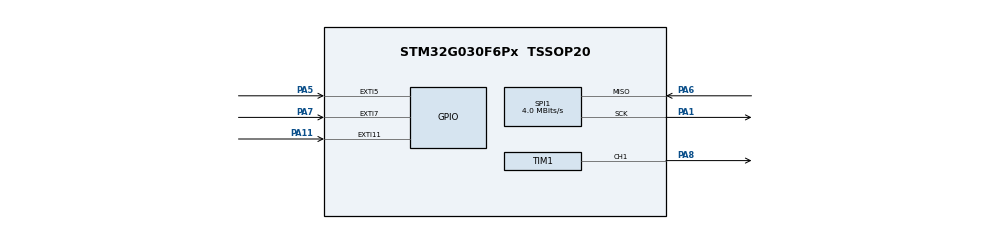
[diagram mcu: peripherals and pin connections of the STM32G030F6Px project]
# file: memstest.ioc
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Dma.Request0=TIM1_CH1
Dma.Request1=SPI1_RX
Dma.SPI1_RX.1.Direction=DMA_PERIPH_TO_MEMORY
Dma.SPI1_RX.1.EventEnable=DISABLE
Dma.SPI1_RX.1.Instance=DMA1_Channel2
Dma.SPI1_RX.1.MemDataAlignment=DMA_MDATAALIGN_BYTE
Dma.SPI1_RX.1.MemInc=DMA_MINC_ENABLE
Dma.SPI1_RX.1.Mode=DMA_CIRCULAR
Dma.SPI1_RX.1.PeriphDataAlignment=DMA_PDATAALIGN_BYTE
Dma.SPI1_RX.1.PeriphInc=DMA_PINC_DISABLE
Dma.SPI1_RX.1.Polarity=HAL_DMAMUX_REQ_GEN_RISING
Dma.SPI1_RX.1.Priority=DMA_PRIORITY_LOW
Dma.SPI1_RX.1.RequestNumber=1
Dma.SPI1_RX.1.SignalID=NONE
Dma.SPI1_RX.1.SyncEnable=DISABLE
Dma.SPI1_RX.1.SyncPolarity=HAL_DMAMUX_SYNC_NO_EVENT
Dma.SPI1_RX.1.SyncRequestNumber=1
Dma.SPI1_RX.1.SyncSignalID=NONE
Dma.TIM1_CH1.0.Direction=DMA_MEMORY_TO_PERIPH
Dma.TIM1_CH1.0.EventEnable=DISABLE
Dma.TIM1_CH1.0.Instance=DMA1_Channel1
Dma.TIM1_CH1.0.MemDataAlignment=DMA_MDATAALIGN_HALFWORD
Dma.TIM1_CH1.0.MemInc=DMA_MINC_ENABLE
Dma.TIM1_CH1.0.Mode=DMA_CIRCULAR
Dma.TIM1_CH1.0.PeriphDataAlignment=DMA_PDATAALIGN_HALFWORD
Dma.TIM1_CH1.0.PeriphInc=DMA_PINC_DISABLE
Dma.TIM1_CH1.0.Polarity=HAL_DMAMUX_REQ_GEN_RISING
Dma.TIM1_CH1.0.Priority=DMA_PRIORITY_LOW
Dma.TIM1_CH1.0.RequestNumber=1
Dma.TIM1_CH1.0.SignalID=NONE
Dma.TIM1_CH1.0.SyncEnable=DISABLE
Dma.TIM1_CH1.0.SyncPolarity=HAL_DMAMUX_SYNC_NO_EVENT
Dma.TIM1_CH1.0.SyncRequestNumber=1
Dma.TIM1_CH1.0.SyncSignalID=NONE
Mcu.Family=STM32G0
Mcu.Name=STM32G030F6Px
Mcu.Package=TSSOP20
NVIC.DMA1_Channel1_IRQn=true\:0\:0\:false\:false\:true\:false\:true\:true
NVIC.DMA1_Channel2_3_IRQn=true\:0\:0\:false\:false\:true\:false\:true\:true
NVIC.EXTI4_15_IRQn=true\:0\:0\:false\:false\:true\:true\:true\:true
NVIC.SPI1_IRQn=true\:0\:0\:false\:false\:true\:true\:true\:true
PA1.Mode=RX_Only_Simplex_Unidirect_Master
PA1.Signal=SPI1_SCK
PA11\ [PA9].GPIO_ModeDefaultEXTI=GPIO_MODE_IT_RISING_FALLING
PA11\ [PA9].GPIO_PuPd=GPIO_PULLUP
PA11\ [PA9].Signal=GPXTI11
PA13.Mode=Serial_Wire
PA13.Signal=SYS_SWDIO
PA14-BOOT0.Mode=Serial_Wire
PA14-BOOT0.Signal=SYS_SWCLK
PA14-BOOT0__PA15.StandardMode=true
PA5.GPIO_ModeDefaultEXTI=GPIO_MODE_IT_RISING_FALLING
PA5.GPIO_PuPd=GPIO_PULLUP
PA5.Signal=GPXTI5
PA6.Mode=RX_Only_Simplex_Unidirect_Master
PA6.Signal=SPI1_MISO
PA7.GPIO_ModeDefaultEXTI=GPIO_MODE_IT_RISING_FALLING
PA7.GPIO_PuPd=GPIO_PULLUP
PA7.Signal=GPXTI7
PA8.Signal=S_TIM1_CH1
PB0__PB1__PB2__PA8.StandardMode=true
PB3__PB4__PB5__PB6.StandardMode=true
PB7__PB8.StandardMode=true
PC14-OSC32_IN\ (PC14)__PB9.StandardMode=true
ProjectManager.HeapSize=0x200
ProjectManager.StackSize=0x400
ProjectManager.TargetToolchain=STM32CubeIDE
RCC.ADCFreq_Value=64000000
RCC.AHBFreq_Value=64000000
RCC.CortexFreq_Value=64000000
RCC.EXTERNAL_CLOCK_VALUE=12288000
RCC.HCLKFreq_Value=64000000
RCC.HSE_VALUE=8000000
RCC.HSI_VALUE=16000000
RCC.LSE_VALUE=32768
RCC.SYSCLKFreq_VALUE=64000000
RCC.SYSCLKSource=RCC_SYSCLKSOURCE_PLLCLK
RCC.VCOOutputFreq_Value=128000000
SH.S_TIM1_CH1.0=TIM1_CH1,PWM Generation1 CH1
SPI1.BaudRatePrescaler=SPI_BAUDRATEPRESCALER_16
SPI1.CLKPhase=SPI_PHASE_1EDGE
SPI1.CLKPolarity=SPI_POLARITY_LOW
SPI1.CalculateBaudRate=4.0 MBits/s
SPI1.Direction=SPI_DIRECTION_2LINES_RXONLY
SPI1.Mode=SPI_MODE_MASTER
SPI1.NSSPMode=SPI_NSS_PULSE_DISABLE
SPI1.VirtualType=VM_MASTER
TIM1.Channel-PWM\ Generation1\ CH1=TIM_CHANNEL_1
TIM1.Channel-PWM\ Generation4\ No\ Output=TIM_CHANNEL_4
TIM1.Period=80-1
VP_TIM1_VS_ClockSourceINT.Mode=Internal
VP_TIM1_VS_no_output4.Mode=PWM Generation4 No Output
board=custom

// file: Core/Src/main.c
/* USER CODE BEGIN Header */
/**
  ******************************************************************************
  * @file           : main.c
  * @brief          : Main program body
  ******************************************************************************
  * @attention
  *
  * <h2><center>&copy; Copyright (c) 2022 STMicroelectronics.
  * All rights reserved.</center></h2>
  *
  * This software component is licensed by ST under BSD 3-Clause license,
  * the "License"; You may not use this file except in compliance with the
  * License. You may obtain a copy of the License at:
  *                        opensource.org/licenses/BSD-3-Clause
  *
  ******************************************************************************
  */
/* USER CODE END Header */
#include "main.h"
#include "dma.h"
#include "spi.h"
#include "tim.h"
#include "gpio.h"

void SystemClock_Config(void);

/* USER CODE BEGIN 0 */
int sys_state = 0;

uint32_t huecolor(float hue) {
    int amp = 256;
    int normalized = (int) (hue / 360.0 * amp * 6);

    //find the region for this position
    int region = normalized / amp;

    //find the distance to the start of the closest region
    int x = normalized % amp;

    uint8_t r = 0, g = 0, b = 0;
    switch (region) {
        case 0:
            r = amp - 1;
            g = 0;
            b = 0;
            g += x;
            break;
        case 1:
            r = amp - 1;
            g = amp - 1;
            b = 0;
            r -= x;
            break;
        case 2:
            r = 0;
            g = amp - 1;
            b = 0;
            b += x;
            break;
        case 3:
            r = 0;
            g = amp - 1;
            b = amp - 1;
            g -= x;
            break;
        case 4:
            r = 0;
            g = 0;
            b = amp - 1;
            r += x;
            break;
        case 5:
            r = amp - 1;
            g = 0;
            b = amp - 1;
            b -= x;
            break;
    }
    return r + (g << 8) + (b << 16);
}

#define MAX_LED 17
#define PDM_SAMPLES 512

uint8_t LED_Data[MAX_LED][4];

void Set_LED(uint8_t LEDnum, uint8_t Red, uint8_t Green, uint8_t Blue) {

    LED_Data[LEDnum][0] = LEDnum;
    LED_Data[LEDnum][1] = Green;
    LED_Data[LEDnum][2] = Red;
    LED_Data[LEDnum][3] = Blue;
}

volatile uint8_t datasentflag = 0;

uint16_t pwmData[(24 * MAX_LED) + 50];

void WS2812_Send(void) {
    uint32_t indx = 0;
    uint32_t color;
    for (int i = 0; i < 50; i++) {
        pwmData[indx] = 0;
        indx++;
    }
    for (int i = 0; i < MAX_LED; i++) {
        color = ((LED_Data[i][1] << 16) | (LED_Data[i][2] << 8) | (LED_Data[i][3]));

        for (int i = 23; i >= 0; i--) {
            if ((color >> i) & 1) {
                pwmData[indx] = 53;  // 2/3 of 20
            } else pwmData[indx] = 27;  // 1/3 of 20

            indx++;
        }

    }

    HAL_TIM_PWM_Start_DMA(&htim1, TIM_CHANNEL_1, (uint32_t *) pwmData, indx);
    while (!datasentflag) {};
    datasentflag = 0;
}

int pdm2amp(const uint8_t *r, int s, int e) {
    int max_amp = 0;
    int amp = 0;
    for (int i = s; i < e; i++) {
        for (int j = 0; j < 8; j++) {
            if (((r[i] >> j) & 1) == 1) {
                amp++;
            }
        }
    }
    int dest = (amp - (e - s) * 8 / 2);
    if (dest < 0)dest = -dest;
    if (dest > MAX_LED)dest = MAX_LED;

    if (dest > max_amp) {
        max_amp = dest;
    }
    return max_amp;
}

int pdm2amp_rec(uint8_t *buf, int size, int step) {
    if (size > PDM_SAMPLES)size = PDM_SAMPLES;
    if (step > PDM_SAMPLES)step = PDM_SAMPLES;
    int amp = 0;
    for (int i = 0; i < PDM_SAMPLES - size; i += step) {
        int amp_t = pdm2amp(buf, i, i + size);
        if (amp_t > amp)amp = amp_t;
    }
    return amp;
}

void HAL_TIM_PWM_PulseFinishedCallback(TIM_HandleTypeDef *htim) {
    HAL_TIM_PWM_Stop_DMA(&htim1, TIM_CHANNEL_1);
    datasentflag = 1;
}

uint8_t r[PDM_SAMPLES] = {0};

void HAL_SPI_RxCpltCallback(SPI_HandleTypeDef *hspi) {

}

void HAL_GPIO_EXTI_Rising_Callback(uint16_t GPIO_Pin) {

}

void HAL_GPIO_EXTI_Falling_Callback(uint16_t GPIO_Pin) {
    sys_state = 1 - sys_state;
}

/* USER CODE END 0 */

int main(void) {

    /* MCU Configuration--------------------------------------------------------*/

    /* Reset of all peripherals, Initializes the Flash interface and the Systick. */
    HAL_Init();

    /* Configure the system clock */
    SystemClock_Config();

    /* Initialize all configured peripherals */
    MX_GPIO_Init();
    MX_SPI1_Init();
    MX_DMA_Init();
    MX_TIM1_Init();

    /* Infinite loop */
    /* USER CODE BEGIN WHILE */
    HAL_SPI_DeInit(&hspi1);
    HAL_SPI_Init(&hspi1);
    HAL_SPI_Receive_DMA(&hspi1, (uint8_t *) r, PDM_SAMPLES);
//    int counter = 0;

    HAL_TIM_PWM_Start_DMA(&htim1, TIM_CHANNEL_1, (uint32_t *) pwmData, (24 * MAX_LED) + 50);
    int max_amp = 0;

    while (1) {

        /* USER CODE END WHILE */

        /* USER CODE BEGIN 3 */

        //  DEPRECATED: non-precise frequency band matching
        //      volatile int amp1=0;
        //      volatile int amp2=0;
        //      volatile int amp3=0;
        //      volatile int amp4=0;
        //        for(int i=0;i<400-1;i++){
        //            int amp1_t=pdm2amp(r,PDM_SAMPLES/400*i,PDM_SAMPLES/400*(i+1));
        //            if(amp1_t>amp1)amp1=amp1_t;
        //        }
        //          for(int i=0;i<64-1;i++){
        //              int amp2_t=pdm2amp(r,PDM_SAMPLES/64*i,PDM_SAMPLES/64*(i+1));
        //              if(amp2_t>amp2)amp2=amp2_t;
        //          }
        //      for(int i=0;i<16-1;i++){
        //          int amp3_t=pdm2amp(r,PDM_SAMPLES/16*i,PDM_SAMPLES/16*(i+1));
        //          if(amp3_t>amp3)amp3=amp3_t;
        //      }
        //      for(int i=0;i<4-1;i++){
        //          int amp4_t=pdm2amp(r,PDM_SAMPLES/4*i,PDM_SAMPLES/4*(i+1));
        //          if(amp4_t>amp4)amp4=amp4_t;
        //      }
        //      volatile int amp5=pdm2amp(r,0,PDM_SAMPLES);
        //      volatile int amp=0;

        if (sys_state == 0) {
            int amp = 0;

            int amp1 = pdm2amp_rec(r, 12, 100);
            amp = amp > amp1 ? amp : amp1;

            int amp2 = pdm2amp_rec(r, 12 * 10, 100);
            amp = amp > amp2 ? amp : amp2;

            int amp3 = pdm2amp_rec(r, 12 * 20, 100);
            amp = amp > amp3 ? amp : amp3;

            int amp4 = pdm2amp_rec(r, 12 * 30, 100);
            amp = amp > amp4 ? amp : amp4;

            int amp5 = pdm2amp_rec(r, 12 * 40, 100);
            amp = amp > amp5 ? amp : amp5;

            //  DEPRECATED: non-precise frequency band matching
            //      int amp1= pdm2amp_rec(r,4,256);
            //      int amp2= pdm2amp_rec(r,8,64);
            //      int amp3= pdm2amp_rec(r,16,32);
            //      int amp4= pdm2amp_rec(r,64,16);
            //      int amp5= pdm2amp_rec(r,256,4);

            max_amp = amp;
            float color_step = 0;
            for (int i = 0; i < max_amp; i++) {
                uint32_t color = huecolor(color_step);
                float r_s = ((color >> 8) & 0xff) / 80.0;
                float g_s = (color & 0xff) / 80;
                float b_s = ((color >> 16) & 0xff) / 80;
                Set_LED(i, (int) r_s, (int) g_s, (int) b_s);
                color_step += (amp1 * 2 + amp2 + amp3 / 2.0 + amp4 / 4.0 + amp5 / 8.0) / 2;
            }
            for (int i = max_amp; i < MAX_LED; i++) {
                Set_LED(i, 0, 0, 0);
            }
            WS2812_Send();
        } else {
            for (int i = 0; i < MAX_LED; i++) {
                Set_LED(i, 0, 0, 0);
            }
            Set_LED(MAX_LED - 1, 0, 0, 1);
            WS2812_Send();
        }
    }
    /* USER CODE END 3 */
}

void SystemClock_Config(void) {
    LL_FLASH_SetLatency(LL_FLASH_LATENCY_2);
    while (LL_FLASH_GetLatency() != LL_FLASH_LATENCY_2) {
    }

    /* HSI configuration and activation */
    LL_RCC_HSI_Enable();
    while (LL_RCC_HSI_IsReady() != 1) {
    }

    /* Main PLL configuration and activation */
    LL_RCC_PLL_ConfigDomain_SYS(LL_RCC_PLLSOURCE_HSI, LL_RCC_PLLM_DIV_1, 8, LL_RCC_PLLR_DIV_2);
    LL_RCC_PLL_Enable();
    LL_RCC_PLL_EnableDomain_SYS();
    while (LL_RCC_PLL_IsReady() != 1) {
    }

    /* Set AHB prescaler*/
    LL_RCC_SetAHBPrescaler(LL_RCC_SYSCLK_DIV_1);

    /* Sysclk activation on the main PLL */
    LL_RCC_SetSysClkSource(LL_RCC_SYS_CLKSOURCE_PLL);
    while (LL_RCC_GetSysClkSource() != LL_RCC_SYS_CLKSOURCE_STATUS_PLL) {
    }

    /* Set APB1 prescaler*/
    LL_RCC_SetAPB1Prescaler(LL_RCC_APB1_DIV_1);
    /* Update CMSIS variable (which can be updated also through SystemCoreClockUpdate function) */
    LL_SetSystemCoreClock(64000000);

    /* Update the time base */
    if (HAL_InitTick(TICK_INT_PRIORITY) != HAL_OK) {
        Error_Handler();
    }
}

void Error_Handler(void) {
    __disable_irq();
    while (1) {
    }
}
